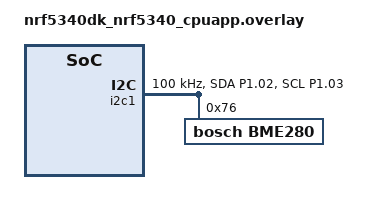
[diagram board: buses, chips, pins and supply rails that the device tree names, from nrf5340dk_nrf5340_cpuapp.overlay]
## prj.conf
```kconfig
CONFIG_SENSOR=y
CONFIG_STDOUT_CONSOLE=y
CONFIG_I2C=y
CONFIG_CBPRINTF_FP_SUPPORT=y
CONFIG_BME280=y
CONFIG_I2C_NRFX=y
CONFIG_PRINTK=y
```

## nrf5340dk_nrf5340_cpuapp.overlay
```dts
&pinctrl {
	i2c1_default_alt: i2c1_default_alt {
		group2 {
			psels = <NRF_PSEL(TWIM_SDA, 1, 02)>, <NRF_PSEL(TWIM_SCL, 1, 03)>;
		};
	};

	i2c1_default_sleep: i2c1_default_sleep {
		group3 {
			psels = <NRF_PSEL(TWIM_SDA, 1, 02)>, <NRF_PSEL(TWIM_SCL, 1, 03)>;
			low-power-enable;
		};
	};
};

&i2c1 {
	status = "okay";
	compatible = "nordic,nrf-twim";
	pinctrl-0 = <&i2c1_default_alt>;
	pinctrl-1 = <&i2c1_default_sleep>;
	pinctrl-names = "default", "sleep";
	clock-frequency = < I2C_BITRATE_STANDARD >;
	bme280@76 {
		compatible = "bosch,bme280";
		reg = <0x76>;
		label = "BME280";
	};
};
```

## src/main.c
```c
#include <zephyr/kernel.h>
#include <zephyr/device.h>
#include <zephyr/devicetree.h>
#include <zephyr/drivers/sensor.h>

static const struct device *get_bme280_device(void)
{
	const struct device *const dev = DEVICE_DT_GET_ANY(bosch_bme280);

	if (dev == NULL) {
		/* No such node, or the node does not have status "okay". */
		printk("\nError: no device found.\n");
		return NULL;
	}

	if (!device_is_ready(dev)) {
		printk("\nError: Device \"%s\" is not ready; "
		       "check the driver initialization logs for errors.\n",
		       dev->name);
		return NULL;
	}

	printk("Found device \"%s\", getting sensor data\n", dev->name);
	return dev;
}

int main(void)
{
	const struct device *dev = get_bme280_device();

	if (dev == NULL) {
		return 0;
	}

	while (1) {
		struct sensor_value temp, press, humidity;

		sensor_sample_fetch(dev);
		sensor_channel_get(dev, SENSOR_CHAN_AMBIENT_TEMP, &temp);
		sensor_channel_get(dev, SENSOR_CHAN_PRESS, &press);
		sensor_channel_get(dev, SENSOR_CHAN_HUMIDITY, &humidity);

		printk("temp: %d.%06d; press: %d.%06d; humidity: %d.%06d\n",
		      temp.val1, temp.val2, press.val1, press.val2,
		      humidity.val1, humidity.val2);


		k_sleep(K_MSEC(1000));
	}
	return 0;
}
```
